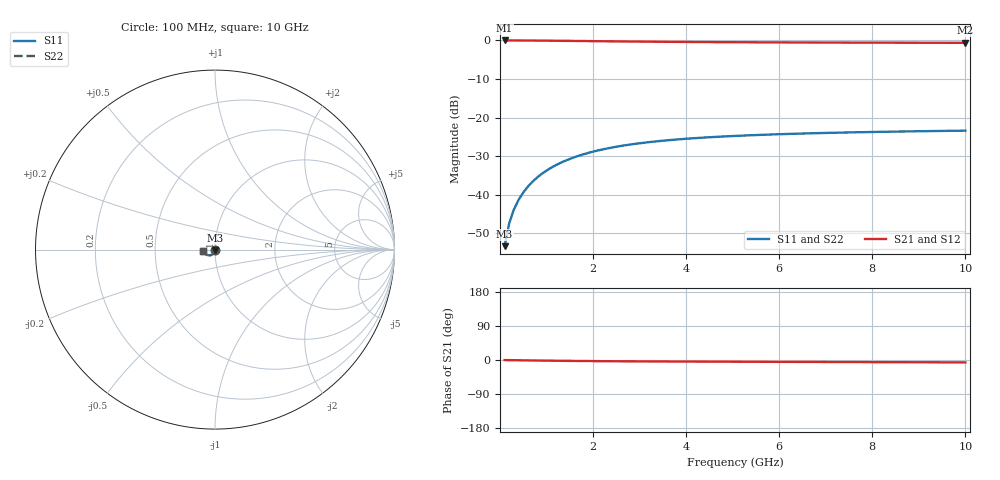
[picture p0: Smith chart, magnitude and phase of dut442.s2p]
! Touchstone file exported from HFSS 2024.1.0
!  File:  C:/UserFiles/LocalFiles/RDL_TSV_Batchsim/temp_TSV1_442_1779695353.aedt
!  Generated:  03:56:40 PM May 25, 2026
!  Design:  TSV1
!  Project:  temp_TSV1_442_1779695353
!  Setup:  Setup1
!  Solution:  Sweep
! Variables:
!  dtsv = 14.16um
!  hbump = 3um
!  htsv = 98.52um
!  lrdl = 252.1521522um
!  p = 40
!  p1 = 58.19um
!  t = 500um
!  trdl = 3um
!  wrdl = 24.89489489um
# GHz S MA R 50.000000
! Terminal data exported
! Port[1] = TSV22_T1
! Port[2] = TSV22_T2
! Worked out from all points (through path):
!   100 points, 100 MHz to 10 GHz, reference 50 ohm
!   highest |S21| = 0.00 dB at 100 MHz (marker M1); lowest = -0.6 dB at 10 GHz (marker M2)
!   lowest |S11| = -53.4 dB at 100 MHz (marker M3), VSWR 1.00, Z = 50 - j0.214 ohm
!   |S11| at or under -10 dB: start of sweep to end of sweep
!   |S22| runs from -53.4 to -23.4 dB; largest |S21 - S12| = 4.3e-15
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0.1  0.002144 -89.5  0.9998 -0.2  0.9998 -0.2  0.002144 -89.5
! Gamma 0 0 0 0
! Port Impedance 50 0 50 0
0.2  0.004286 -92.6  0.9996 -0.4  0.9996 -0.4  0.004286 -92.6
0.3  0.006422 -94.9  0.9992 -0.5  0.9992 -0.5  0.006422 -94.9
0.4  0.008542 -97.0  0.9987 -0.7  0.9987 -0.7  0.008542 -97.0
0.5  0.01064 -99.1  0.998 -0.9  0.998 -0.9  0.01064 -99.1
0.6  0.0127 -101.1  0.9973 -1.1  0.9973 -1.1  0.0127 -101.1
0.7  0.01472 -103.1  0.9964 -1.2  0.9964 -1.2  0.01472 -103.1
0.8  0.0167 -105.0  0.9954 -1.4  0.9954 -1.4  0.0167 -105.0
0.9  0.01863 -106.9  0.9943 -1.5  0.9943 -1.5  0.01863 -106.9
1.1  0.02234 -110.6  0.992 -1.8  0.992 -1.8  0.02234 -110.6
1.4  0.02746 -115.8  0.988 -2.2  0.988 -2.2  0.02746 -115.8
1.6  0.03057 -119.0  0.9853 -2.5  0.9853 -2.5  0.03057 -119.0
1.8  0.03345 -122.0  0.9824 -2.7  0.9824 -2.7  0.03345 -122.0
2.1  0.03734 -126.3  0.9782 -3.0  0.9782 -3.0  0.03734 -126.3
2.5  0.04179 -131.4  0.9728 -3.3  0.9728 -3.3  0.04179 -131.4
2.9  0.04552 -135.9  0.9678 -3.5  0.9678 -3.5  0.04552 -135.9
3.4  0.04936 -140.9  0.9622 -3.8  0.9622 -3.8  0.04936 -140.9
4.2  0.05407 -147.5  0.9549 -4.2  0.9549 -4.2  0.05407 -147.5
5.1  0.05791 -153.6  0.9486 -4.5  0.9486 -4.5  0.05791 -153.6
6.7  0.06247 -162.0  0.9407 -5.1  0.9407 -5.1  0.06247 -162.0
8.4  0.06556 -169.0  0.9353 -5.7  0.9353 -5.7  0.06556 -169.0
10  0.06758 -174.3  0.9319 -6.3  0.9319 -6.3  0.06758 -174.3
